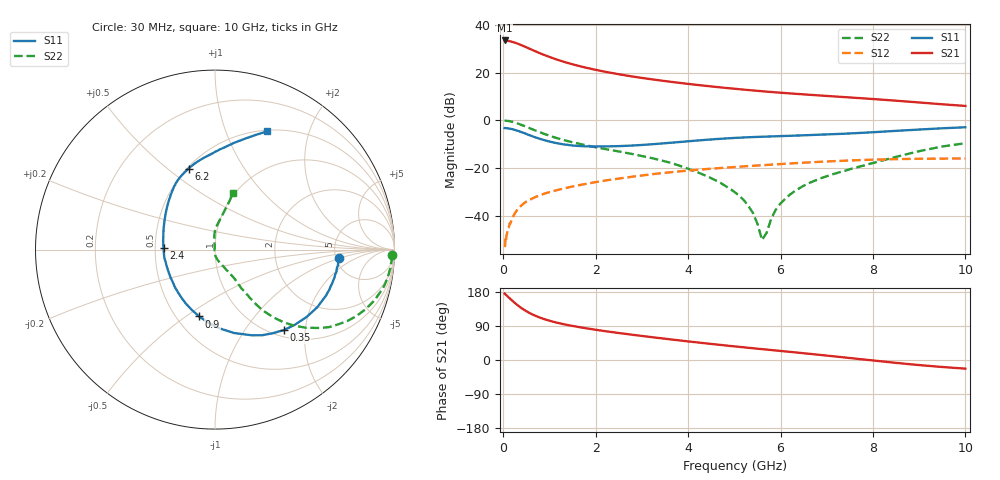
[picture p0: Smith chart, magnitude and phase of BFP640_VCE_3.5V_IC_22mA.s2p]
! (c) 2013  Infineon Technologies AG, Munich
! Infineon Technologies  Discrete & RF Semiconductors
! BFP640
! VCE =  3.5 V,  IC =  22 mA
! Common Emitter S-Parameters:  Apr 2013
# GHz  S  MA  R  50
!  f  S11  S21  S12  S22
! GHz  MAG  ANG  MAG  ANG  MAG  ANG  MAG  ANG
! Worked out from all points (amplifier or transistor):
!   99 points, 30 MHz to 10 GHz, reference 50 ohm
!   highest |S21| = 33.6 dB at 30 MHz (marker M1)
!   |S21| within 3 dB of that: start of sweep to 515.1 MHz
!   unconditionally stable (mu >= 1): 2.607 GHz to end of sweep
!   at 350 MHz: K = 0.29, MSG = 34.2 dB, |S12| = -36.5 dB
!   at 3.5 GHz: K = 1.04, MAG = 18.0 dB, |S12| = -22.0 dB
!   at 10 GHz: K = 1.07, MAG = 9.4 dB, |S12| = -16.0 dB
!   S11 on the Smith chart (normalised r, x): 30 MHz: 5.31, -0.96; 350 MHz: 1.12, -1.54; 900 MHz: 0.65, -0.56; 2.4 GHz: 0.55, +0.01; 6.2 GHz: 0.51, +0.60; 10 GHz: 0.51, +1.40
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0.03  0.6919 -3.9  47.61 175.3  0.0024 75.1  0.984 -1.9
0.06  0.6865 -8.8  47.49 171.8  0.003 68.6  0.9824 -5.0
0.12  0.676 -17.9  46.38 164.9  0.0057 85.6  0.9692 -10.6
0.2  0.6539 -29.5  44.35 156.0  0.009 77.6  0.9334 -17.5
0.3  0.6111 -43.2  41.24 145.6  0.0132 72.8  0.8712 -25.1
0.35  0.5901 -49.5  39.4 141.0  0.015 71.2  0.8374 -28.4
0.4  0.5648 -55.7  37.74 136.5  0.0167 68.1  0.801 -31.4
0.45  0.5445 -61.2  35.86 132.6  0.0183 67.1  0.7696 -34.1
0.6  0.4765 -77.2  30.99 122.1  0.0223 63.5  0.6693 -40.6
0.7  0.4402 -86.5  28.1 116.5  0.0248 61.4  0.6128 -43.8
0.9  0.3828 -103.3  23.38 107.4  0.0293 59.2  0.517 -48.4
1.2  0.3278 -124.4  18.37 97.4  0.0352 56.9  0.4156 -52.2
1.4  0.3066 -136.5  16.02 92.2  0.0391 56.1  0.3679 -53.5
1.7  0.2884 -152.5  13.41 85.6  0.0449 54.4  0.3141 -54.3
2.4  0.287 178.4  9.689 72.9  0.0583 50.5  0.2324 -56.0
3.4  0.3268 149.2  6.894 57.6  0.0778 43.6  0.1466 -59.2
5.1  0.4336 119.3  4.525 34.8  0.1068 29.6  0.0266 -90.7
5.6  0.4547 113.8  4.095 28.7  0.1147 25.7  0.0031 -150.8
6.2  0.4748 107.9  3.691 21.6  0.1247 20.8  0.0276 94.8
6.7  0.4959 102.3  3.416 15.4  0.1329 16.2  0.0526 93.4
8.5  0.6039 79.9  2.594 -7.6  0.1543 -1.5  0.1719 80.4
10  0.7188 66.3  2.012 -22.8  0.159 -13.3  0.3323 72.6
